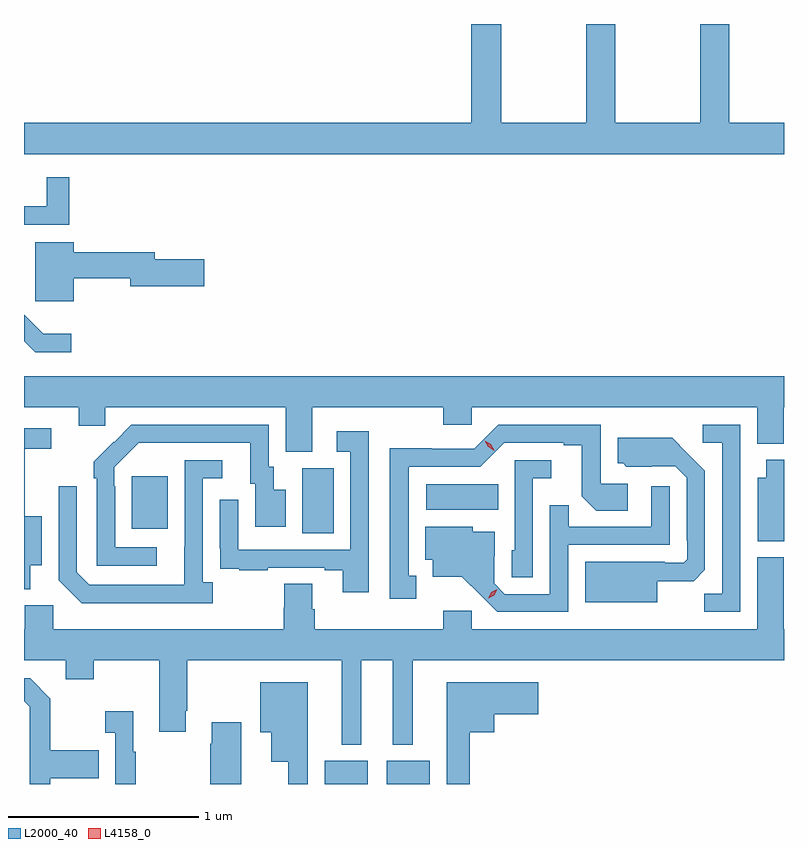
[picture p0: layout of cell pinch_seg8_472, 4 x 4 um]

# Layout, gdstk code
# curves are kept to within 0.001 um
import gdstk
lib = gdstk.Library(unit=1e-6, precision=1e-09)
def R(c, l, rs):  # rectangles x0, y0, x1, y1
    for r in rs: c.add(gdstk.rectangle(r[:2], r[2:], *l))
def P(c, l, *ps):  # polygons
    for p in ps: c.add(gdstk.Polygon(p, *l))
L2000_40 = (2000, 40)
L4158_0 = (4158, 0)

pinch_seg8_472 = lib.new_cell('pinch_seg8_472')
R(pinch_seg8_472, L2000_40, [(230.081,1126.505,230.308,1126.627), (230.408,1126.505,230.635,1126.627), (229.964,1127.824,230.128,1128.168), (229.067,1127.849,229.255,1128.124), (230.616,1127.948,230.996,1128.082)])
P(pinch_seg8_472, L2000_40, [(232.057,1130.505),(232.057,1129.984),(231.612,1129.984),(231.612,1130.505),(231.457,1130.505),(231.457,1129.984),(231.012,1129.984),(231.012,1130.505),(230.852,1130.505),(230.852,1129.984),(228.499,1129.984),(228.499,1129.82),(232.499,1129.82),(232.499,1129.984),(232.212,1129.984),(232.212,1130.505)],
  [(228.737,1129.699),(228.62,1129.699),(228.62,1129.545),(228.499,1129.545),(228.499,1129.449),(228.737,1129.449)],
  [(228.76,1129.168),(229.058,1129.168),(229.058,1129.126),(229.447,1129.126),(229.447,1129.268),(229.186,1129.268),(229.186,1129.304),(228.76,1129.304),(228.76,1129.357),(228.557,1129.357),(228.557,1129.047),(228.76,1129.047)],
  [(228.748,1128.874),(228.599,1128.874),(228.499,1128.974),(228.499,1128.836),(228.558,1128.777),(228.748,1128.777)],
  [(230.017,1128.488),(230.705,1128.488),(230.705,1128.395),(230.856,1128.395),(230.856,1128.488),(232.358,1128.488),(232.358,1128.296),(232.498,1128.296),(232.498,1128.488),(232.499,1128.488),(232.499,1128.652),(228.499,1128.652),(228.499,1128.488),(228.788,1128.488),(228.788,1128.39),(228.927,1128.39),(228.927,1128.488),(229.877,1128.488),(229.877,1128.253),(230.017,1128.253)],
  [(230.563,1127.601),(230.524,1127.601),(230.524,1128.174),(230.901,1128.174),(231.027,1128.3),(231.341,1128.3),(231.341,1128.288),(231.435,1128.288),(231.435,1128.02),(231.511,1127.944),(231.676,1127.944),(231.676,1128.084),(231.534,1128.084),(231.534,1128.396),(230.994,1128.396),(230.868,1128.27),(230.646,1128.27),(230.646,1128.272),(230.423,1128.272),(230.423,1127.481),(230.563,1127.481)],
  [(229.198,1127.751),(228.978,1127.751),(228.978,1128.071),(228.975,1128.071),(228.975,1128.171),(229.104,1128.3),(229.691,1128.3),(229.691,1128.084),(229.715,1128.084),(229.715,1127.859),(229.876,1127.859),(229.876,1128.055),(229.813,1128.055),(229.813,1128.174),(229.788,1128.174),(229.788,1128.396),(229.064,1128.396),(228.867,1128.201),(228.867,1128.113),(228.882,1128.113),(228.882,1127.655),(229.198,1127.655)],
  [(232.269,1128.396),(232.071,1128.396),(232.071,1128.3),(232.173,1128.3),(232.173,1127.507),(232.078,1127.507),(232.078,1127.412),(232.269,1127.412)],
  [(228.532,1127.657),(228.592,1127.657),(228.592,1127.914),(228.503,1127.914),(228.503,1128.27),(228.643,1128.27),(228.643,1128.378),(228.499,1128.378),(228.499,1127.531),(228.532,1127.531)],
  [(230.313,1128.361),(230.145,1128.361),(230.145,1128.255),(230.217,1128.255),(230.217,1127.739),(229.626,1127.739),(229.626,1128.001),(229.53,1128.001),(229.53,1127.746),(229.531,1127.746),(229.531,1127.637),(229.633,1127.637),(229.633,1127.631),(229.781,1127.631),(229.781,1127.643),(230.081,1127.643),(230.081,1127.631),(230.177,1127.631),(230.177,1127.514),(230.313,1127.514)],
  [(231.832,1127.573),(232.024,1127.573),(232.083,1127.632),(232.083,1128.154),(231.911,1128.328),(231.623,1128.328),(231.623,1128.192),(231.654,1128.192),(231.67,1128.176),(231.927,1128.177),(231.987,1128.117),(231.987,1127.788),(231.99,1127.788),(231.99,1127.688),(231.972,1127.67),(231.872,1127.67),(231.872,1127.674),(231.452,1127.674),(231.452,1127.462),(231.832,1127.462)],
  [(232.499,1128.211),(232.406,1128.211),(232.406,1128.118),(232.361,1128.118),(232.361,1127.783),(232.499,1127.783)],
  [(231.177,1128.113),(231.274,1128.113),(231.274,1128.21),(231.081,1128.21),(231.081,1127.736),(231.066,1127.736),(231.066,1127.593),(231.177,1127.593)],
  [(229.492,1127.566),(229.44,1127.566),(229.44,1128.114),(229.543,1128.114),(229.543,1128.21),(229.344,1128.21),(229.343,1127.553),(228.843,1127.553),(228.777,1127.619),(228.777,1128.073),(228.681,1128.073),(228.681,1127.577),(228.802,1127.456),(229.492,1127.456)],
  [(231.363,1127.763),(231.897,1127.763),(231.897,1128.073),(231.801,1128.073),(231.801,1127.859),(231.365,1127.859),(231.365,1127.972),(231.267,1127.972),(231.267,1127.505),(231.03,1127.505),(230.973,1127.562),(230.973,1127.704),(230.977,1127.704),(230.977,1127.833),(230.862,1127.833),(230.862,1127.86),(230.612,1127.86),(230.612,1127.684),(230.651,1127.684),(230.651,1127.597),(230.803,1127.597),(230.99,1127.412),(231.363,1127.412)],
  [(230.275,1127.156),(230.441,1127.156),(230.441,1126.712),(230.545,1126.712),(230.545,1127.156),(232.499,1127.156),(232.499,1127.32),(232.498,1127.32),(232.498,1127.698),(232.358,1127.698),(232.358,1127.32),(230.856,1127.32),(230.856,1127.416),(230.705,1127.416),(230.705,1127.32),(230.03,1127.32),(230.03,1127.426),(230.017,1127.426),(230.017,1127.558),(229.87,1127.558),(229.87,1127.433),(229.865,1127.433),(229.865,1127.32),(228.654,1127.32),(228.654,1127.446),(228.503,1127.446),(228.503,1127.32),(228.499,1127.32),(228.499,1127.156),(228.719,1127.156),(228.719,1127.057),(228.867,1127.057),(228.867,1127.156),(229.211,1127.156),(229.211,1126.779),(229.351,1126.779),(229.351,1126.891),(229.359,1126.891),(229.359,1127.156),(230.171,1127.156),(230.171,1126.712),(230.275,1126.712)],
  [(228.637,1126.535),(228.893,1126.535),(228.893,1126.683),(228.637,1126.683),(228.637,1126.955),(228.531,1127.061),(228.499,1127.061),(228.499,1126.94),(228.528,1126.911),(228.528,1126.505),(228.637,1126.505)],
  [(230.845,1126.778),(230.974,1126.778),(230.974,1126.871),(231.205,1126.871),(231.205,1127.041),(230.723,1127.041),(230.723,1126.505),(230.845,1126.505)],
  [(229.993,1127.041),(229.742,1127.041),(229.742,1126.778),(229.799,1126.778),(229.799,1126.622),(229.889,1126.622),(229.889,1126.505),(229.993,1126.505)],
  [(229.087,1126.675),(229.075,1126.675),(229.075,1126.888),(228.927,1126.888),(228.927,1126.775),(228.978,1126.775),(228.978,1126.505),(229.087,1126.505)],
  [(229.642,1126.831),(229.487,1126.831),(229.487,1126.718),(229.48,1126.718),(229.48,1126.505),(229.642,1126.505)])
P(pinch_seg8_472, L4158_0, [(230.942,1127.483),(230.942,1127.483),(230.959,1127.513),(230.989,1127.53),(230.99,1127.53),(230.99,1127.529),(230.973,1127.499),(230.942,1127.483)],
  [(230.974,1128.26),(230.942,1128.279),(230.924,1128.312),(230.924,1128.312),(230.925,1128.312),(230.956,1128.293),(230.974,1128.261),(230.974,1128.26)])

lib.write_gds('pinch_seg8_472.gds')
